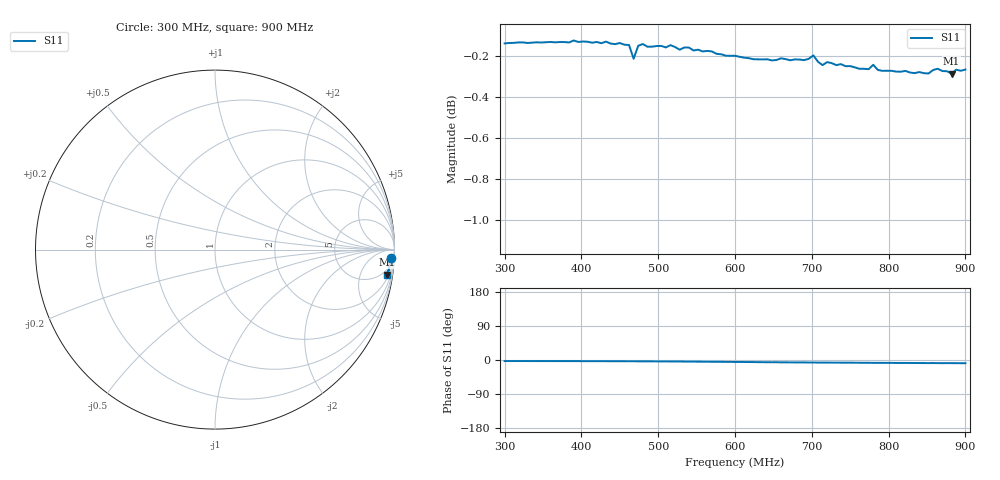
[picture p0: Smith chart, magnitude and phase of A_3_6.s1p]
# HZ S RI R 50
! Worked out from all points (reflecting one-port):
!   101 points, 300 MHz to 900 MHz, reference 50 ohm
!   lowest |S11| = -0.3 dB at 882 MHz (marker M1), VSWR 60.74, Z = 150 - j657 ohm
!   phase of S11 starts at -3 deg and turns -6 deg over the sweep
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3e8  0.9829 -0.0472
3.78e8  0.9835 -0.05
4.5e8  0.9827 -0.0564
4.62e8  0.9815 -0.0577
4.68e8  0.974 -0.057
4.74e8  0.981 -0.0597
4.8e8  0.9819 -0.0605
5.16e8  0.9808 -0.067
5.28e8  0.9782 -0.069
5.4e8  0.9791 -0.0724
6e8  0.9734 -0.087
6.48e8  0.9694 -0.1018
6.54e8  0.9698 -0.1
6.6e8  0.9702 -0.1051
6.78e8  0.9693 -0.1082
7.02e8  0.9709 -0.1134
7.14e8  0.9654 -0.1146
7.2e8  0.967 -0.1152
7.5e8  0.9641 -0.1206
7.74e8  0.9618 -0.1253
7.8e8  0.964 -0.1269
7.92e8  0.9606 -0.1277
8.28e8  0.959 -0.1324
8.58e8  0.9599 -0.1365
8.7e8  0.9587 -0.1404
8.76e8  0.959 -0.1381
8.82e8  0.9575 -0.1392
9e8  0.9593 -0.1421
